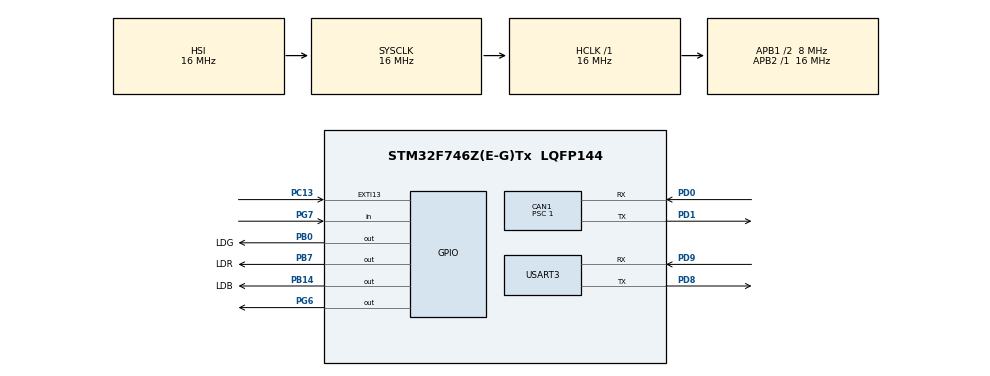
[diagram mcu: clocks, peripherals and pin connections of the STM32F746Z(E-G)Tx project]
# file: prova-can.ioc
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CAN1.BS1=CAN_BS1_6TQ
CAN1.BS2=CAN_BS2_1TQ
CAN1.CalculateTimeBit=1000
CAN1.CalculateTimeQuantum=125.0
CAN1.Prescaler=1
CAN1.SJW=CAN_SJW_3TQ
Mcu.Family=STM32F7
Mcu.Name=STM32F746Z(E-G)Tx
Mcu.Package=LQFP144
NVIC.PriorityGroup=NVIC_PRIORITYGROUP_4
PA1.GPIO_Mode=GPIO_MODE_AF_PP
PA1.GPIO_PuPd=GPIO_NOPULL
PA1.GPIO_Speed=GPIO_SPEED_FREQ_VERY_HIGH
PA1.Signal=ETH_REF_CLK
PA10.GPIO_Mode=GPIO_MODE_AF_PP
PA10.GPIO_PuPd=GPIO_NOPULL
PA10.GPIO_Speed=GPIO_SPEED_FREQ_VERY_HIGH
PA10.Signal=USB_OTG_FS_ID
PA11.GPIO_Mode=GPIO_MODE_AF_PP
PA11.GPIO_PuPd=GPIO_NOPULL
PA11.GPIO_Speed=GPIO_SPEED_FREQ_VERY_HIGH
PA11.Signal=USB_OTG_FS_DM
PA12.GPIO_Mode=GPIO_MODE_AF_PP
PA12.GPIO_PuPd=GPIO_NOPULL
PA12.GPIO_Speed=GPIO_SPEED_FREQ_VERY_HIGH
PA12.Signal=USB_OTG_FS_DP
PA13.Signal=SYS_JTMS-SWDIO
PA14.Signal=SYS_JTCK-SWCLK
PA2.GPIO_Mode=GPIO_MODE_AF_PP
PA2.GPIO_PuPd=GPIO_NOPULL
PA2.GPIO_Speed=GPIO_SPEED_FREQ_VERY_HIGH
PA2.Signal=ETH_MDIO
PA7.GPIO_Mode=GPIO_MODE_AF_PP
PA7.GPIO_PuPd=GPIO_NOPULL
PA7.GPIO_Speed=GPIO_SPEED_FREQ_VERY_HIGH
PA7.Signal=ETH_CRS_DV
PA8.GPIO_Mode=GPIO_MODE_AF_PP
PA8.GPIO_PuPd=GPIO_NOPULL
PA8.GPIO_Speed=GPIO_SPEED_FREQ_VERY_HIGH
PA8.Signal=USB_OTG_FS_SOF
PA9.GPIO_Mode=GPIO_MODE_INPUT
PA9.GPIO_PuPd=GPIO_NOPULL
PA9.Signal=USB_OTG_FS_VBUS
PB0.GPIO_Label=LDG
PB0.GPIO_ModeDefaultOutputPP=GPIO_MODE_OUTPUT_PP
PB0.GPIO_PuPd=GPIO_NOPULL
PB0.GPIO_Speed=GPIO_SPEED_FREQ_LOW
PB0.PinState=GPIO_PIN_RESET
PB0.Signal=GPIO_Output
PB13.GPIO_Mode=GPIO_MODE_AF_PP
PB13.GPIO_PuPd=GPIO_NOPULL
PB13.GPIO_Speed=GPIO_SPEED_FREQ_VERY_HIGH
PB13.Signal=ETH_TXD1
PB14.GPIO_Label=LDB
PB14.GPIO_ModeDefaultOutputPP=GPIO_MODE_OUTPUT_PP
PB14.GPIO_PuPd=GPIO_NOPULL
PB14.GPIO_Speed=GPIO_SPEED_FREQ_LOW
PB14.PinState=GPIO_PIN_RESET
PB14.Signal=GPIO_Output
PB3.Signal=SYS_JTDO-SWO
PB7.GPIO_Label=LDR
PB7.GPIO_ModeDefaultOutputPP=GPIO_MODE_OUTPUT_PP
PB7.GPIO_PuPd=GPIO_NOPULL
PB7.GPIO_Speed=GPIO_SPEED_FREQ_LOW
PB7.PinState=GPIO_PIN_RESET
PB7.Signal=GPIO_Output
PC1.GPIO_Mode=GPIO_MODE_AF_PP
PC1.GPIO_PuPd=GPIO_NOPULL
PC1.GPIO_Speed=GPIO_SPEED_FREQ_VERY_HIGH
PC1.Signal=ETH_MDC
PC13.GPIO_ModeDefaultEXTI=GPIO_MODE_IT_RISING
PC13.GPIO_PuPd=GPIO_NOPULL
PC13.Signal=GPXTI13
PC14/OSC32_IN.Signal=RCC_OSC32_IN
PC15/OSC32_OUT.Signal=RCC_OSC32_OUT
PC4.GPIO_Mode=GPIO_MODE_AF_PP
PC4.GPIO_PuPd=GPIO_NOPULL
PC4.GPIO_Speed=GPIO_SPEED_FREQ_VERY_HIGH
PC4.Signal=ETH_RXD0
PC5.GPIO_Mode=GPIO_MODE_AF_PP
PC5.GPIO_PuPd=GPIO_NOPULL
PC5.GPIO_Speed=GPIO_SPEED_FREQ_VERY_HIGH
PC5.Signal=ETH_RXD1
PD0.Mode=Master
PD0.Signal=CAN1_RX
PD1.Mode=Master
PD1.Signal=CAN1_TX
PD8.GPIO_Mode=GPIO_MODE_AF_PP
PD8.GPIO_PuPd=GPIO_NOPULL
PD8.GPIO_Speed=GPIO_SPEED_FREQ_VERY_HIGH
PD8.Mode=Asynchronous
PD8.Signal=USART3_TX
PD9.GPIO_Mode=GPIO_MODE_AF_PP
PD9.GPIO_PuPd=GPIO_NOPULL
PD9.GPIO_Speed=GPIO_SPEED_FREQ_VERY_HIGH
PD9.Mode=Asynchronous
PD9.Signal=USART3_RX
PG11.GPIO_Mode=GPIO_MODE_AF_PP
PG11.GPIO_PuPd=GPIO_NOPULL
PG11.GPIO_Speed=GPIO_SPEED_FREQ_VERY_HIGH
PG11.Signal=ETH_TX_EN
PG13.GPIO_Mode=GPIO_MODE_AF_PP
PG13.GPIO_PuPd=GPIO_NOPULL
PG13.GPIO_Speed=GPIO_SPEED_FREQ_VERY_HIGH
PG13.Signal=ETH_TXD0
PG6.GPIO_ModeDefaultOutputPP=GPIO_MODE_OUTPUT_PP
PG6.GPIO_PuPd=GPIO_NOPULL
PG6.GPIO_Speed=GPIO_SPEED_FREQ_LOW
PG6.PinState=GPIO_PIN_RESET
PG6.Signal=GPIO_Output
PG7.GPIO_Mode=GPIO_MODE_INPUT
PG7.GPIO_PuPd=GPIO_NOPULL
PG7.Signal=GPIO_Input
PH0/OSC_IN.Signal=RCC_OSC_IN
PH1/OSC_OUT.Signal=RCC_OSC_OUT
ProjectManager.HeapSize=0x200
ProjectManager.StackSize=0x400
ProjectManager.TargetToolchain=SW4STM32
RCC.48MHZClocksFreq_Value=24000000
RCC.AHBFreq_Value=16000000
RCC.APB1CLKDivider=RCC_HCLK_DIV2
RCC.APB1Freq_Value=8000000
RCC.APB1TimFreq_Value=16000000
RCC.APB2Freq_Value=16000000
RCC.APB2TimFreq_Value=16000000
RCC.CortexFreq_Value=16000000
RCC.HCLKFreq_Value=16000000
RCC.HSE_VALUE=8000000
RCC.HSI_VALUE=16000000
RCC.LSE_VALUE=32768
RCC.PLLMUL=RCC_PLL_MUL9
RCC.PRESCALERUSB=RCC_USBCLKSOURCE_PLL_DIV1_5
RCC.SYSCLKFreq_VALUE=16000000
RCC.SYSCLKSourceVirtual=RCC_SYSCLKSOURCE_PLLCLK
RCC.USBFreq_Value=96000000
RCC.VCOOutputFreq_Value=192000000
USART3.VirtualMode-Asynchronous=VM_ASYNC
USART3.WordLength=WORDLENGTH_8B
board=NUCLEO-F746ZG

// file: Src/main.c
/**
  ******************************************************************************
  * File Name          : main.c
  * Description        : Main program body
  ******************************************************************************
  */
/**
  ******************************************************************************
  * COPYRIGHT(c) 2017 STMicroelectronics
  *
  * Redistribution and use in source and binary forms, with or without modification,
  * are permitted provided that the following conditions are met:
  *   1. Redistributions of source code must retain the above copyright notice,
  *      this list of conditions and the following disclaimer.
  *   2. Redistributions in binary form must reproduce the above copyright notice,
  *      this list of conditions and the following disclaimer in the documentation
  *      and/or other materials provided with the distribution.
  *   3. Neither the name of STMicroelectronics nor the names of its contributors
  *      may be used to endorse or promote products derived from this software
  *      without specific prior written permission.
  *
  * THIS SOFTWARE IS PROVIDED BY THE COPYRIGHT HOLDERS AND CONTRIBUTORS "AS IS"
  * AND ANY EXPRESS OR IMPLIED WARRANTIES, INCLUDING, BUT NOT LIMITED TO, THE
  * IMPLIED WARRANTIES OF MERCHANTABILITY AND FITNESS FOR A PARTICULAR PURPOSE ARE
  * DISCLAIMED. IN NO EVENT SHALL THE COPYRIGHT HOLDER OR CONTRIBUTORS BE LIABLE
  * FOR ANY DIRECT, INDIRECT, INCIDENTAL, SPECIAL, EXEMPLARY, OR CONSEQUENTIAL
  * DAMAGES (INCLUDING, BUT NOT LIMITED TO, PROCUREMENT OF SUBSTITUTE GOODS OR
  * SERVICES; LOSS OF USE, DATA, OR PROFITS; OR BUSINESS INTERRUPTION) HOWEVER
  * CAUSED AND ON ANY THEORY OF LIABILITY, WHETHER IN CONTRACT, STRICT LIABILITY,
  * OR TORT (INCLUDING NEGLIGENCE OR OTHERWISE) ARISING IN ANY WAY OUT OF THE USE
  * OF THIS SOFTWARE, EVEN IF ADVISED OF THE POSSIBILITY OF SUCH DAMAGE.
  *
  ******************************************************************************
  */
#include "main.h"
#include "stm32f7xx_hal.h"

CAN_HandleTypeDef hcan1;

UART_HandleTypeDef huart3;

/* USER CODE BEGIN PV */
/* Private variables ---------------------------------------------------------*/

/* USER CODE END PV */

void SystemClock_Config(void);
void Error_Handler(void);
static void MX_GPIO_Init(void);
static void MX_CAN1_Init(void);
static void MX_USART3_UART_Init(void);

/* USER CODE BEGIN PFP */
/* Private function prototypes -----------------------------------------------*/
void print(char*,int16_t);
/* USER CODE END PFP */

int main(void)
{

  /* MCU Configuration----------------------------------------------------------*/

  /* Reset of all peripherals, Initializes the Flash interface and the Systick. */
  HAL_Init();

  /* Configure the system clock */
  SystemClock_Config();

  /* Initialize all configured peripherals */
  MX_GPIO_Init();
  MX_CAN1_Init();
  MX_USART3_UART_Init();

  /* USER CODE BEGIN 2 */
  char msg[20];
  print("go\r\n",4);

  CAN_FilterConfTypeDef filt;
  filt.BankNumber = 0;
  filt.FilterNumber = 0;
  filt.FilterScale = CAN_FILTERSCALE_16BIT;
  filt.FilterActivation = ENABLE;
  filt.FilterFIFOAssignment = CAN_FILTER_FIFO0;
  filt.FilterIdHigh= 0x0100<<5;
  filt.FilterMode = CAN_FILTERMODE_IDLIST;

  HAL_CAN_ConfigFilter(&hcan1, &filt);

  print("confd\r\n",7);

  int i=0;

  /* USER CODE END 2 */

  /* Infinite loop */
  while (1)
  {

  /* USER CODE BEGIN 3 */
      hcan1.pTxMsg->StdId = 2;
      hcan1.pTxMsg->RTR = CAN_RTR_DATA;
      hcan1.pTxMsg->IDE = CAN_ID_STD;
      hcan1.pTxMsg->DLC = 8;
      hcan1.pTxMsg->Data[0] = 0x0;
      hcan1.pTxMsg->Data[1] = 0x1;
      hcan1.pTxMsg->Data[2] = 0x0;
      hcan1.pTxMsg->Data[3] = 0x2;
      hcan1.pTxMsg->Data[4] = 0x0;
      hcan1.pTxMsg->Data[5] = 0x3;
      hcan1.pTxMsg->Data[6] = 0x0;
      hcan1.pTxMsg->Data[7] = 0x4;

      HAL_CAN_Transmit(&hcan1,HAL_MAX_DELAY);

      hcan1.pTxMsg->StdId = 3;
      hcan1.pTxMsg->RTR = CAN_RTR_DATA;
      hcan1.pTxMsg->IDE = CAN_ID_STD;
      hcan1.pTxMsg->DLC = 8;
      hcan1.pTxMsg->Data[0] = 0x0;
      hcan1.pTxMsg->Data[1] = 0x5;
      hcan1.pTxMsg->Data[2] = 0x0;
      hcan1.pTxMsg->Data[3] = 0x6;
      hcan1.pTxMsg->Data[4] = 0x0;
      hcan1.pTxMsg->Data[5] = 0x7;
      hcan1.pTxMsg->Data[6] = 0x0;
      hcan1.pTxMsg->Data[7] = 0x8;
      HAL_CAN_Transmit(&hcan1,HAL_MAX_DELAY);

      hcan1.pTxMsg->StdId = 4;
      hcan1.pTxMsg->RTR = CAN_RTR_DATA;
      hcan1.pTxMsg->IDE = CAN_ID_STD;
      hcan1.pTxMsg->DLC = 8;
      hcan1.pTxMsg->Data[0] = 0x0;
      hcan1.pTxMsg->Data[1] = 0x9;
      hcan1.pTxMsg->Data[2] = 0x0;
      hcan1.pTxMsg->Data[3] = 0x5;
      hcan1.pTxMsg->Data[4] = 0x0;
      hcan1.pTxMsg->Data[5] = 0xB;
      hcan1.pTxMsg->Data[6] = 0x0;
      hcan1.pTxMsg->Data[7] = 0xC;
      HAL_CAN_Transmit(&hcan1,HAL_MAX_DELAY);

      hcan1.pTxMsg->StdId = 5;
      hcan1.pTxMsg->RTR = CAN_RTR_DATA;
      hcan1.pTxMsg->IDE = CAN_ID_STD;
      hcan1.pTxMsg->DLC = 8;
      hcan1.pTxMsg->Data[0] = 0x0;
      hcan1.pTxMsg->Data[1] = 0xD;
      hcan1.pTxMsg->Data[2] = 0x0;
      hcan1.pTxMsg->Data[3] = 0xE;
      hcan1.pTxMsg->Data[4] = 0x0;
      hcan1.pTxMsg->Data[5] = 0xF;
      hcan1.pTxMsg->Data[6] = 0x0;
      hcan1.pTxMsg->Data[7] = 0x0;
      HAL_CAN_Transmit(&hcan1,HAL_MAX_DELAY);
      HAL_Delay(5);

      if  (i%100==0)
	HAL_GPIO_TogglePin(LDG_GPIO_Port,LDG_Pin);
      i++;
  }
  /* USER CODE END 3 */

}

/** System Clock Configuration
*/
void SystemClock_Config(void)
{

  RCC_OscInitTypeDef RCC_OscInitStruct;
  RCC_ClkInitTypeDef RCC_ClkInitStruct;
  RCC_PeriphCLKInitTypeDef PeriphClkInitStruct;

    /**Configure the main internal regulator output voltage
    */
  __HAL_RCC_PWR_CLK_ENABLE();

  __HAL_PWR_VOLTAGESCALING_CONFIG(PWR_REGULATOR_VOLTAGE_SCALE3);

    /**Initializes the CPU, AHB and APB busses clocks
    */
  RCC_OscInitStruct.OscillatorType = RCC_OSCILLATORTYPE_HSI;
  RCC_OscInitStruct.HSIState = RCC_HSI_ON;
  RCC_OscInitStruct.HSICalibrationValue = 16;
  RCC_OscInitStruct.PLL.PLLState = RCC_PLL_NONE;
  if (HAL_RCC_OscConfig(&RCC_OscInitStruct) != HAL_OK)
  {
    Error_Handler();
  }

    /**Initializes the CPU, AHB and APB busses clocks
    */
  RCC_ClkInitStruct.ClockType = RCC_CLOCKTYPE_HCLK|RCC_CLOCKTYPE_SYSCLK
                              |RCC_CLOCKTYPE_PCLK1|RCC_CLOCKTYPE_PCLK2;
  RCC_ClkInitStruct.SYSCLKSource = RCC_SYSCLKSOURCE_HSI;
  RCC_ClkInitStruct.AHBCLKDivider = RCC_SYSCLK_DIV1;
  RCC_ClkInitStruct.APB1CLKDivider = RCC_HCLK_DIV2;
  RCC_ClkInitStruct.APB2CLKDivider = RCC_HCLK_DIV1;

  if (HAL_RCC_ClockConfig(&RCC_ClkInitStruct, FLASH_LATENCY_0) != HAL_OK)
  {
    Error_Handler();
  }

  PeriphClkInitStruct.PeriphClockSelection = RCC_PERIPHCLK_USART3;
  PeriphClkInitStruct.Usart3ClockSelection = RCC_USART3CLKSOURCE_PCLK1;
  if (HAL_RCCEx_PeriphCLKConfig(&PeriphClkInitStruct) != HAL_OK)
  {
    Error_Handler();
  }

    /**Configure the Systick interrupt time
    */
  HAL_SYSTICK_Config(HAL_RCC_GetHCLKFreq()/1000);

    /**Configure the Systick
    */
  HAL_SYSTICK_CLKSourceConfig(SYSTICK_CLKSOURCE_HCLK);

  /* SysTick_IRQn interrupt configuration */
  HAL_NVIC_SetPriority(SysTick_IRQn, 0, 0);
}

/* CAN1 init function */
static void MX_CAN1_Init(void)
{

  hcan1.Instance = CAN1;
  hcan1.Init.Prescaler = 1;
  hcan1.Init.Mode = CAN_MODE_NORMAL;
  hcan1.Init.SJW = CAN_SJW_3TQ;
  hcan1.Init.BS1 = CAN_BS1_6TQ;
  hcan1.Init.BS2 = CAN_BS2_1TQ;
  hcan1.Init.TTCM = DISABLE;
  hcan1.Init.ABOM = DISABLE;
  hcan1.Init.AWUM = DISABLE;
  hcan1.Init.NART = DISABLE;
  hcan1.Init.RFLM = DISABLE;
  hcan1.Init.TXFP = DISABLE;
  if (HAL_CAN_Init(&hcan1) != HAL_OK)
  {
    Error_Handler();
  }

}

/* USART3 init function */
static void MX_USART3_UART_Init(void)
{

  huart3.Instance = USART3;
  huart3.Init.BaudRate = 115200;
  huart3.Init.WordLength = UART_WORDLENGTH_8B;
  huart3.Init.StopBits = UART_STOPBITS_1;
  huart3.Init.Parity = UART_PARITY_NONE;
  huart3.Init.Mode = UART_MODE_TX_RX;
  huart3.Init.HwFlowCtl = UART_HWCONTROL_NONE;
  huart3.Init.OverSampling = UART_OVERSAMPLING_16;
  huart3.Init.OneBitSampling = UART_ONE_BIT_SAMPLE_DISABLE;
  huart3.AdvancedInit.AdvFeatureInit = UART_ADVFEATURE_NO_INIT;
  if (HAL_UART_Init(&huart3) != HAL_OK)
  {
    Error_Handler();
  }

}

/** Configure pins as
        * Analog
        * Input
        * Output
        * EVENT_OUT
        * EXTI
     PC1   ------> ETH_MDC
     PA1   ------> ETH_REF_CLK
     PA2   ------> ETH_MDIO
     PA7   ------> ETH_CRS_DV
     PC4   ------> ETH_RXD0
     PC5   ------> ETH_RXD1
     PB13   ------> ETH_TXD1
     PA8   ------> USB_OTG_FS_SOF
     PA9   ------> USB_OTG_FS_VBUS
     PA10   ------> USB_OTG_FS_ID
     PA11   ------> USB_OTG_FS_DM
     PA12   ------> USB_OTG_FS_DP
     PG11   ------> ETH_TX_EN
     PG13   ------> ETH_TXD0
*/
static void MX_GPIO_Init(void)
{

  GPIO_InitTypeDef GPIO_InitStruct;

  /* GPIO Ports Clock Enable */
  __HAL_RCC_GPIOC_CLK_ENABLE();
  __HAL_RCC_GPIOH_CLK_ENABLE();
  __HAL_RCC_GPIOA_CLK_ENABLE();
  __HAL_RCC_GPIOB_CLK_ENABLE();
  __HAL_RCC_GPIOD_CLK_ENABLE();
  __HAL_RCC_GPIOG_CLK_ENABLE();

  /*Configure GPIO pin Output Level */
  HAL_GPIO_WritePin(GPIOB, LDG_Pin|LDB_Pin|LDR_Pin, GPIO_PIN_RESET);

  /*Configure GPIO pin Output Level */
  HAL_GPIO_WritePin(GPIOG, GPIO_PIN_6, GPIO_PIN_RESET);

  /*Configure GPIO pin : PC13 */
  GPIO_InitStruct.Pin = GPIO_PIN_13;
  GPIO_InitStruct.Mode = GPIO_MODE_IT_RISING;
  GPIO_InitStruct.Pull = GPIO_NOPULL;
  HAL_GPIO_Init(GPIOC, &GPIO_InitStruct);

  /*Configure GPIO pins : PC1 PC4 PC5 */
  GPIO_InitStruct.Pin = GPIO_PIN_1|GPIO_PIN_4|GPIO_PIN_5;
  GPIO_InitStruct.Mode = GPIO_MODE_AF_PP;
  GPIO_InitStruct.Pull = GPIO_NOPULL;
  GPIO_InitStruct.Speed = GPIO_SPEED_FREQ_VERY_HIGH;
  GPIO_InitStruct.Alternate = GPIO_AF11_ETH;
  HAL_GPIO_Init(GPIOC, &GPIO_InitStruct);

  /*Configure GPIO pins : PA1 PA2 PA7 */
  GPIO_InitStruct.Pin = GPIO_PIN_1|GPIO_PIN_2|GPIO_PIN_7;
  GPIO_InitStruct.Mode = GPIO_MODE_AF_PP;
  GPIO_InitStruct.Pull = GPIO_NOPULL;
  GPIO_InitStruct.Speed = GPIO_SPEED_FREQ_VERY_HIGH;
  GPIO_InitStruct.Alternate = GPIO_AF11_ETH;
  HAL_GPIO_Init(GPIOA, &GPIO_InitStruct);

  /*Configure GPIO pins : LDG_Pin LDB_Pin LDR_Pin */
  GPIO_InitStruct.Pin = LDG_Pin|LDB_Pin|LDR_Pin;
  GPIO_InitStruct.Mode = GPIO_MODE_OUTPUT_PP;
  GPIO_InitStruct.Pull = GPIO_NOPULL;
  GPIO_InitStruct.Speed = GPIO_SPEED_FREQ_LOW;
  HAL_GPIO_Init(GPIOB, &GPIO_InitStruct);

  /*Configure GPIO pin : PB13 */
  GPIO_InitStruct.Pin = GPIO_PIN_13;
  GPIO_InitStruct.Mode = GPIO_MODE_AF_PP;
  GPIO_InitStruct.Pull = GPIO_NOPULL;
  GPIO_InitStruct.Speed = GPIO_SPEED_FREQ_VERY_HIGH;
  GPIO_InitStruct.Alternate = GPIO_AF11_ETH;
  HAL_GPIO_Init(GPIOB, &GPIO_InitStruct);

  /*Configure GPIO pin : PG6 */
  GPIO_InitStruct.Pin = GPIO_PIN_6;
  GPIO_InitStruct.Mode = GPIO_MODE_OUTPUT_PP;
  GPIO_InitStruct.Pull = GPIO_NOPULL;
  GPIO_InitStruct.Speed = GPIO_SPEED_FREQ_LOW;
  HAL_GPIO_Init(GPIOG, &GPIO_InitStruct);

  /*Configure GPIO pin : PG7 */
  GPIO_InitStruct.Pin = GPIO_PIN_7;
  GPIO_InitStruct.Mode = GPIO_MODE_INPUT;
  GPIO_InitStruct.Pull = GPIO_NOPULL;
  HAL_GPIO_Init(GPIOG, &GPIO_InitStruct);

  /*Configure GPIO pins : PA8 PA10 PA11 PA12 */
  GPIO_InitStruct.Pin = GPIO_PIN_8|GPIO_PIN_10|GPIO_PIN_11|GPIO_PIN_12;
  GPIO_InitStruct.Mode = GPIO_MODE_AF_PP;
  GPIO_InitStruct.Pull = GPIO_NOPULL;
  GPIO_InitStruct.Speed = GPIO_SPEED_FREQ_VERY_HIGH;
  GPIO_InitStruct.Alternate = GPIO_AF10_OTG_FS;
  HAL_GPIO_Init(GPIOA, &GPIO_InitStruct);

  /*Configure GPIO pin : PA9 */
  GPIO_InitStruct.Pin = GPIO_PIN_9;
  GPIO_InitStruct.Mode = GPIO_MODE_INPUT;
  GPIO_InitStruct.Pull = GPIO_NOPULL;
  HAL_GPIO_Init(GPIOA, &GPIO_InitStruct);

  /*Configure GPIO pins : PG11 PG13 */
  GPIO_InitStruct.Pin = GPIO_PIN_11|GPIO_PIN_13;
  GPIO_InitStruct.Mode = GPIO_MODE_AF_PP;
  GPIO_InitStruct.Pull = GPIO_NOPULL;
  GPIO_InitStruct.Speed = GPIO_SPEED_FREQ_VERY_HIGH;
  GPIO_InitStruct.Alternate = GPIO_AF11_ETH;
  HAL_GPIO_Init(GPIOG, &GPIO_InitStruct);

}

/* USER CODE BEGIN 4 */
void print(char* data, int16_t len){
  HAL_UART_Transmit(&huart3,(uint8_t*)data, len, HAL_MAX_DELAY);
}
/* USER CODE END 4 */

void Error_Handler(void)
{
  while(1)
  {
  }
}

/************************ (C) COPYRIGHT STMicroelectronics *****END OF FILE****/
